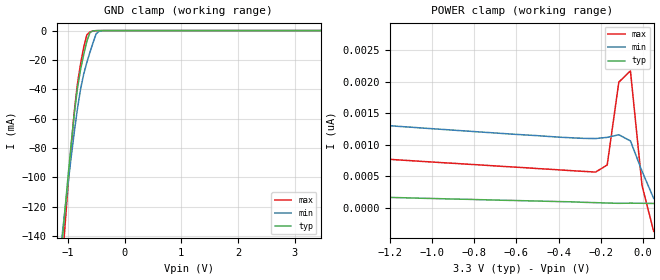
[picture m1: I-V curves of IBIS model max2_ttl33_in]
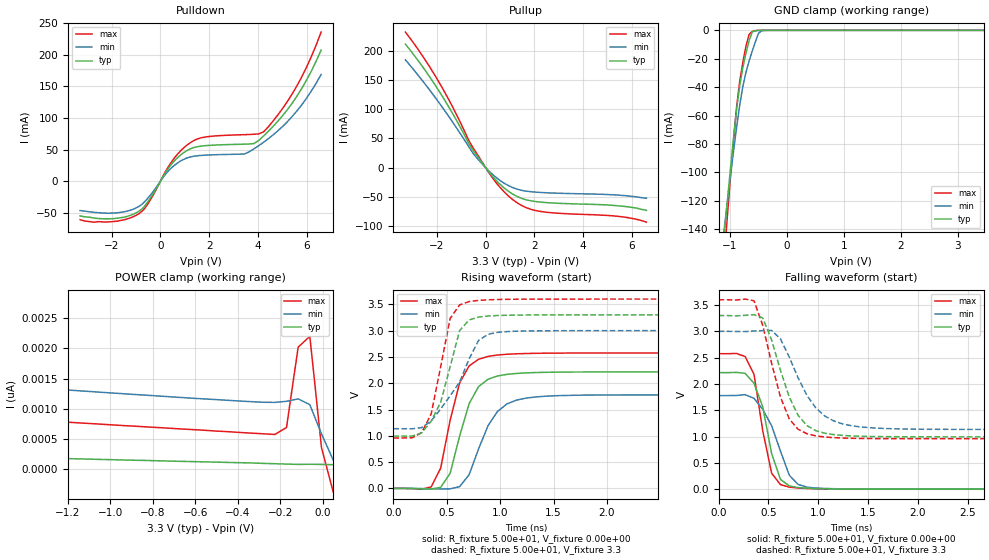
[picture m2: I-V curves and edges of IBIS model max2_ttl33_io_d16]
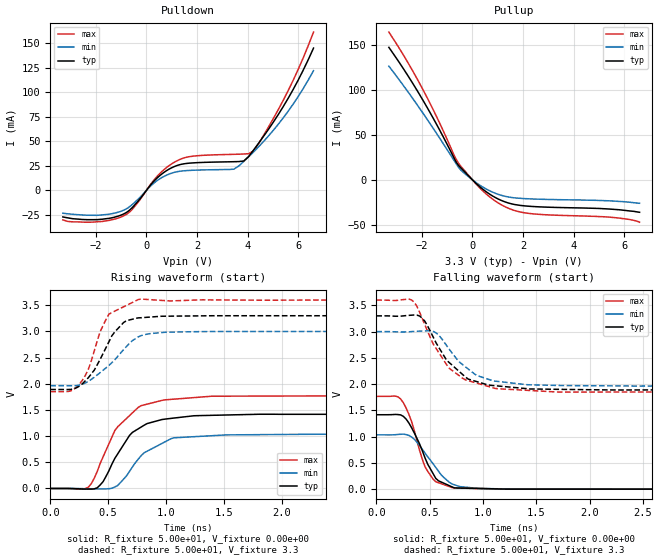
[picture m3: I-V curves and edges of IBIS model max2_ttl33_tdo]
[IBIS Ver] 3.2
[File Name] chipa.ibs
[File Rev] 2.2
[Date] October 11, 2016
[Source] Altera, Quartus Prime 16.0
[Notes]
| The models are designated as "Final" and have been
| correlated against physical device operation.
Unused IOs which have been assigned as tri-stated inputs or
as outputs driving any signal in Quartus Prime are represented by the NC.
[Disclaimer] Data is for modeling purposes only and is not guaranteed.
[Copyright] Copyright (C) 1991-2016 Altera Corporation. All rights reserved.
[Component] EPM570T144C5_ChipA
[Manufacturer]  Altera Corporation
[Package]
| RLC values are for 144 TQFP package
|variable  typ  min  max
R_pkg  428.00m   397.00m   491.00m
L_pkg  8.18nH   7.25nH   9.88nH
C_pkg  1.01pF   0.89pF   1.29pF
[Pin]  signal_name   model_name   R_pin   L_pin   C_pin
1   address[0]   max2_ttl33_in
2   address[1]   max2_ttl33_in
3   address[2]   max2_ttl33_in
4   address[3]   max2_ttl33_in
5   address[4]   max2_ttl33_in
6   address[5]   max2_ttl33_in
7   address[6]   max2_ttl33_in
8   address[7]   max2_ttl33_in
9   VCCIO1   POWER
10   GNDIO   GND
11   cs   max2_ttl33_io_d16
14   altera_reserved_lai_  max2_ttl33_io_d16
15   altera_reserved_lai_  max2_ttl33_io_d16
16   altera_reserved_lai_  max2_ttl33_io_d16
17   GNDINT   GND
18   clkin   max2_ttl33_in
19   VCCINT   POWER
21   Lsignalin[63]   max2_ttl33_in
22   Lsignalin[62]   max2_ttl33_in
23   Lsignalin[61]   max2_ttl33_in
24   Lsignalin[60]   max2_ttl33_in
25   VCCIO1   POWER
26   GNDIO   GND
27   Lsignalin[59]   max2_ttl33_in
28   Lsignalin[58]   max2_ttl33_in
29   Lsignalin[57]   max2_ttl33_in
30   Lsignalin[56]   max2_ttl33_in
31   Lsignalin[55]   max2_ttl33_in
32   Lsignalin[54]   max2_ttl33_in
33   TMS   max2_ttl33_in
34   TDI   max2_ttl33_in
35   TCK   max2_ttl33_in
36   TDO   max2_ttl33_tdo
37   Lsignalin[53]   max2_ttl33_in
38   Lsignalin[52]   max2_ttl33_in
39   Lsignalin[51]   max2_ttl33_in
40   Lsignalin[50]   max2_ttl33_in
41   Lsignalin[49]   max2_ttl33_in
42   Lsignalin[48]   max2_ttl33_in
43   Lsignalin[47]   max2_ttl33_in
44   Lsignalin[46]   max2_ttl33_in
45   Lsignalin[45]   max2_ttl33_in
46   VCCIO1   POWER
47   GNDIO   GND
48   Lsignalin[44]   max2_ttl33_in
49   Lsignalin[43]   max2_ttl33_in
50   Lsignalin[42]   max2_ttl33_in
51   Lsignalin[41]   max2_ttl33_in
52   Lsignalin[40]   max2_ttl33_in
53   Lsignalin[39]   max2_ttl33_in
54   GNDINT   GND
55   Lsignalin[38]   max2_ttl33_in
56   VCCINT   POWER
57   Lsignalin[37]   max2_ttl33_in
58   Lsignalin[36]   max2_ttl33_in
59   Lsignalin[35]   max2_ttl33_in
60   Lsignalin[34]   max2_ttl33_in
61   Lsignalin[33]   max2_ttl33_in
62   Lsignalin[32]   max2_ttl33_in
63   Lsignalin[31]   max2_ttl33_in
64   VCCIO1   POWER
65   GNDIO   GND
66   Lsignalin[30]   max2_ttl33_in
67   Lsignalin[29]   max2_ttl33_in
68   Lsignalin[28]   max2_ttl33_in
69   Lsignalin[27]   max2_ttl33_in
70   Lsignalin[26]   max2_ttl33_in
71   Lsignalin[25]   max2_ttl33_in
72   Lsignalin[24]   max2_ttl33_in
73   Lsignalin[23]   max2_ttl33_in
74   Lsignalin[22]   max2_ttl33_in
75   Lsignalin[21]   max2_ttl33_in
76   Lsignalin[20]   max2_ttl33_in
77   Lsignalin[19]   max2_ttl33_in
78   Lsignalin[18]   max2_ttl33_in
79   Lsignalin[17]   max2_ttl33_in
80   Lsignalin[16]   max2_ttl33_in
82   VCCIO2   POWER
83   GNDIO   GND
86   altera_reserved_lai_  max2_ttl33_io_d16
87   altera_reserved_lai_  max2_ttl33_io_d16
89   altera_reserved_lai_  max2_ttl33_io_d16
90   VCCINT   POWER
92   GNDINT   GND
93   altera_reserved_lai_  max2_ttl33_io_d16
95   altera_reserved_lai_  max2_ttl33_io_d16
96   enwipe_led   max2_ttl33_io_d16
97   cs_led   max2_ttl33_io_d16
98   Lsignalin[15]   max2_ttl33_in
99   GNDIO   GND
100   VCCIO2   POWER
101   Lsignalin[14]   max2_ttl33_in
102   Lsignalin[13]   max2_ttl33_in
103   Lsignalin[12]   max2_ttl33_in
104   Lsignalin[11]   max2_ttl33_in
105   Lsignalin[10]   max2_ttl33_in
106   Lsignalin[9]   max2_ttl33_in
107   Lsignalin[8]   max2_ttl33_in
108   Lsignalin[7]   max2_ttl33_in
109   Lsignalin[6]   max2_ttl33_in
110   Lsignalin[5]   max2_ttl33_in
111   Lsignalin[4]   max2_ttl33_in
112   Lsignalin[3]   max2_ttl33_in
113   Lsignalin[2]   max2_ttl33_in
114   Lsignalin[1]   max2_ttl33_in
115   GNDIO   GND
116   VCCIO2   POWER
117   Lsignalin[0]   max2_ttl33_in
122   altera_reserved_lai_  max2_ttl33_io_d16
123   altera_reserved_lai_  max2_ttl33_io_d16
124   altera_reserved_lai_  max2_ttl33_io_d16
126   VCCINT   POWER
128   GNDINT   GND
130   altera_reserved_lai_  max2_ttl33_io_d16
131   altera_reserved_lai_  max2_ttl33_io_d16
132   altera_reserved_lai_  max2_ttl33_io_d16
133   altera_reserved_lai_  max2_ttl33_io_d16
134   altera_reserved_lai_  max2_ttl33_io_d16
135   GNDIO   GND
136   VCCIO2   POWER
137   dataout[0]   max2_ttl33_io_d16
138   dataout[1]   max2_ttl33_io_d16
139   dataout[2]   max2_ttl33_io_d16
140   dataout[3]   max2_ttl33_io_d16
141   dataout[4]   max2_ttl33_io_d16
142   dataout[5]   max2_ttl33_io_d16
143   dataout[6]   max2_ttl33_io_d16
144   dataout[7]   max2_ttl33_io_d16
| Models and submodels in the file (3): max2_ttl33_in (Input), max2_ttl33_io_d16 (I/O), max2_ttl33_tdo (Output)
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[Model] max2_ttl33_in
Model_type Input
Vinl  = 0.8
Vinh  = 1.7
C_comp  3.50pF  NA  NA
[Temperature Range]  25.0000  85.0000  0.0000
[Voltage Range]   3.3   3.0   3.6
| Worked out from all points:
|   GND clamp passes 1 mA (typ) near -0.60 V on its own axis
[GND_Clamp]
| voltage   I(typ)   I(min)   I(max)
-3.3V     -1.132A    -925.1mA   -1.355A
-1.105V   -145.7mA   -140.9mA   -161.6mA
-1.05V    -121.9mA   -122mA     -132.8mA
-940mV    -76.51mA   -85.59mA   -78.19mA
-885mV    -56.08mA   -68.52mA   -54.4mA
-830mV    -39.03mA   -52.89mA   -35.93mA
-720mV    -16.26mA   -29.5mA    -11.12mA
-665mV    -7.251mA   -21.62mA   -2.896mA
-610mV    -1.232mA   -14.69mA   -844.4uA
-500mV    -38.25uA   -2.093mA   -55.85uA
-390mV    -1.427uA   -61.76uA   -2.168uA
3.455V    75.97pA    1.136nA    -210.1pA
[POWER_Clamp]
|voltage   I(typ)   I(min)   I(max)
-3.3V     3.129uA    1.976uA    8.362uA
-1.935V   39.88nA    46.98nA    37.46nA
-1.74V    2.53nA     6.616nA    2.411nA
-1.545V   218.5pA    1.536nA    887.7pA
-1.38V    183.3pA    1.353nA    815.5pA
-335mV    96.93pA    1.111nA    590.6pA
-225mV    84.49pA    1.1nA      568.8pA
-170mV    78.42pA    1.119nA    681.2pA
-115mV    73.85pA    1.16nA     1.994nA
-60mV     76.6pA     1.063nA    2.173nA
-5mV      74.64pA    581.4pA    352.9pA
50mV      71.65pA    151.8pA    -370.2pA
[Model] max2_ttl33_io_d16
Model_type I/O
Vinl  = 0.8
Vinh  = 1.7
Vmeas = 1.65V
Rref  = 1M
Cref  = 10pF
Vref  = 0.00V
C_comp  3.50pF  NA  NA
[Temperature Range]  25.0000  85.0000  0.0000
[Voltage Range]   3.3   3.0   3.6
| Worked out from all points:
|   slope of the pulldown table from 0 to 0.495 V, typ, clamps not added: 17.3 ohm
|   slope of the pullup table from 0 to 0.495 V, typ, clamps not added: 20.2 ohm
|   GND clamp passes 1 mA (typ) near -0.60 V on its own axis
|   rising waveform, R_fixture 5.00e+01, V_fixture 0.00e+00: 20-80 % time 202ps typ, 235ps min, 180ps max; typ from 0 V to 2.21 V
|   falling waveform, R_fixture 5.00e+01, V_fixture 0.00e+00: 20-80 % time 172ps typ, 222ps min, 144ps max; typ from 2.21 V to 0 V
|   rising waveform, R_fixture 5.00e+01, V_fixture 3.3: 20-80 % time 202ps typ, 309ps min, 155ps max; typ from 0.994 V to 3.3 V
|   falling waveform, R_fixture 5.00e+01, V_fixture 3.3: 20-80 % time 253ps typ, 317ps min, 228ps max; typ from 3.3 V to 0.994 V
[GND_Clamp]
| voltage   I(typ)   I(min)   I(max)
-3.3V     -1.132A    -925.1mA   -1.355A
-1.105V   -145.7mA   -140.9mA   -161.6mA
-1.05V    -121.9mA   -122mA     -132.8mA
-940mV    -76.51mA   -85.59mA   -78.19mA
-885mV    -56.08mA   -68.52mA   -54.4mA
-830mV    -39.03mA   -52.89mA   -35.93mA
-720mV    -16.26mA   -29.5mA    -11.12mA
-665mV    -7.251mA   -21.62mA   -2.896mA
-610mV    -1.232mA   -14.69mA   -844.4uA
-500mV    -38.25uA   -2.093mA   -55.85uA
-390mV    -1.427uA   -61.76uA   -2.168uA
3.455V    81.21pA    1.142nA    -217.3pA
[Pulldown]
| voltage   I(typ)   I(min)   I(max)
-3.3V     -55mA      -46.5mA    -61mA
-1.935V   -59.3mA    -50.53mA   -63.92mA
-885mV    -47.66mA   -40.03mA   -51.38mA
-500mV    -31.74mA   -26.12mA   -34.98mA
545mV     30.85mA    24.2mA     35.15mA
1.425V    53.77mA    39.78mA    65.24mA
3.455V    58.6mA     43.13mA    73.62mA
3.845V    59.61mA    51.26mA    74.26mA
4.235V    71.49mA    61.53mA    78.06mA
5.015V    103.6mA    86.49mA    114.9mA
5.6V      134.2mA    110.9mA    150.5mA
6.6V      207.5mA    168.9mA    236mA
[POWER_Clamp]
|voltage   I(typ)   I(min)   I(max)
-3.3V     3.129uA    1.976uA    8.362uA
-1.935V   39.89nA    46.99nA    37.46nA
-1.74V    2.537nA    6.626nA    2.419nA
-1.545V   225.1pA    1.545nA    894.9pA
-1.38V    189.3pA    1.36nA     822pA
-335mV    101.3pA    1.118nA    595.7pA
-225mV    88.9pA     1.106nA    573.8pA
-170mV    82.86pA    1.124nA    690.1pA
-115mV    77.67pA    1.164nA    2.022nA
-60mV     79.98pA    1.068nA    2.202nA
-5mV      77.05pA    583.7pA    355.4pA
50mV      72.77pA    151.2pA    -376.4pA
[Pullup]
| voltage   I(typ)   I(min)   I(max)
-3.3V     211.2mA    184.3mA    231.7mA
-2.52V    168.3mA    144.5mA    186.3mA
-1.935V   132.1mA    112.2mA    147.2mA
-1.38V    94.07mA    79.27mA    105.5mA
-720mV    43.61mA    37.54mA    48.91mA
-445mV    25.52mA    20.65mA    29.19mA
380mV     -19.45mA   -15.01mA   -22.91mA
1.095V    -44.58mA   -33.56mA   -53.87mA
1.645V    -54.55mA   -39.88mA   -67.78mA
2.285V    -58.83mA   -42.29mA   -74.89mA
5.405V    -64.9mA    -46.57mA   -82.88mA
6.6V      -73mA      -52mA      -93mA
[Rising Waveform]
R_fixture = 5.00e+01
V_fixture = 0.00e+00
V_fixture_min = 0.00e+00
V_fixture_max = 0.00e+00
|Time   Typ(v)   Min(v)   Max(v)
0s        0V         0V         0V
354.6ps   -12.32mV   -8.393mV   27.85mV
443.2ps   20.94mV    -8.876mV   384.4mV
531.9ps   285.4mV    -8.85mV    1.297V
620.5ps   992.9mV    33.45mV    2.005V
709.2ps   1.609V     257.4mV    2.328V
797.8ps   1.935V     748.9mV    2.455V
975.2ps   2.138V     1.463V     2.536V
1.152ns   2.186V     1.678V     2.559V
35ns      2.215V     1.779V     2.575V
[Falling Waveform]
R_fixture = 5.00e+01
V_fixture = 0.00e+00
V_fixture_min = 0.00e+00
V_fixture_max = 0.00e+00
|Time   Typ(v)   Min(v)   Max(v)
0s        2.215V     1.779V     2.575V
265.9ps   2.202V     1.796V     2.521V
354.6ps   2.014V     1.728V     2.185V
443.2ps   1.562V     1.515V     1.105V
531.9ps   676.5mV    1.205V     303.2mV
620.5ps   186.1mV    722.6mV    86.01mV
709.2ps   60.69mV    264mV      38.56mV
797.8ps   30.24mV    90.21mV    21.73mV
886.5ps   17.77mV    38.45mV    12.88mV
35ns      0V         0V         0V
[Rising Waveform]
R_fixture = 5.00e+01
V_fixture = 3.3
V_fixture_min = 3.0
V_fixture_max = 3.6
|Time   Typ(v)   Min(v)   Max(v)
0s        994.5mV    1.135V     959.1mV
265.9ps   1.056V     1.156V     1.061V
354.6ps   1.278V     1.283V     1.417V
443.2ps   1.639V     1.51V      2.314V
531.9ps   2.312V     1.76V      3.231V
620.5ps   2.999V     2.023V     3.489V
709.2ps   3.203V     2.461V     3.552V
797.8ps   3.257V     2.813V     3.575V
886.5ps   3.278V     2.93V      3.586V
35ns      3.3V       3V         3.6V
[Falling Waveform]
R_fixture = 5.00e+01
V_fixture = 3.3
V_fixture_min = 3.0
V_fixture_max = 3.6
|Time   Typ(v)   Min(v)   Max(v)
0s        3.3V       3V         3.6V
354.6ps   3.317V     3.006V     3.582V
443.2ps   3.254V     3.013V     3.111V
620.5ps   2.258V     2.856V     1.75V
709.2ps   1.75V      2.509V     1.333V
797.8ps   1.401V     2.114V     1.138V
975.2ps   1.112V     1.543V     1.013V
1.241ns   1.022V     1.241V     972mV
2.394ns   994.7mV    1.136V     959.2mV
35ns      994.5mV    1.135V     959.1mV
[Ramp]
dV/dt_r 9.418e-001/1.773e-010 7.141e-001/1.773e-010 1.031e+000/1.773e-010
dV/dt_f 1.504e+000/2.660e-010 1.313e+000/3.546e-010 1.362e+000/1.773e-010
[Model] max2_ttl33_tdo
Model_type Output
Vmeas = 1.65V
Rref  = 1M
Cref  = 10pF
Vref  = 0.00V
C_comp  3.50pF  NA  NA
[Temperature Range]  25.0000  85.0000  0.0000
[Voltage Range]   3.3   3.0   3.6
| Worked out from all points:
|   slope of the pulldown table from 0 to 0.495 V, typ, clamps not added: 34.6 ohm
|   slope of the pullup table from 0 to 0.495 V, typ, clamps not added: 40.5 ohm
|   rising waveform, R_fixture 5.00e+01, V_fixture 0.00e+00: 20-80 % time 262ps typ, 291ps min, 285ps max; typ from 0 V to 1.42 V
|   falling waveform, R_fixture 5.00e+01, V_fixture 0.00e+00: 20-80 % time 196ps typ, 235ps min, 171ps max; typ from 1.42 V to 0 V
|   rising waveform, R_fixture 5.00e+01, V_fixture 3.3: 20-80 % time 220ps typ, 287ps min, 175ps max; typ from 1.89 V to 3.3 V
|   falling waveform, R_fixture 5.00e+01, V_fixture 3.3: 20-80 % time 312ps typ, 298ps min, 320ps max; typ from 3.3 V to 1.89 V
[Pulldown]
| voltage   I(typ)   I(min)   I(max)
-3.3V     -27mA      -23.2mA    -30mA
-2.13V    -29.8mA    -25.3mA    -32.3mA
-1.105V   -26.11mA   -22.04mA   -28.06mA
-610mV    -18.78mA   -15.48mA   -20.64mA
435mV     12.92mA    10.2mA     14.63mA
1.205V    25.35mA    19.05mA    30.15mA
1.895V    28.18mA    20.65mA    35.1mA
3.455V    29.3mA     21.69mA    36.82mA
3.845V    30mA       29.56mA    37.14mA
4.235V    41.27mA    39.29mA    40.31mA
5.6V      93.96mA    80.8mA     101.8mA
6.6V      145.1mA    122.1mA    161.4mA
[Pullup]
| voltage   I(typ)   I(min)   I(max)
-3.3V     147mA      126.1mA    163.9mA
-2.52V    114.3mA    96.65mA    128.7mA
-1.935V   87.39mA    73.19mA    99.06mA
-1.38V    59.68mA    49.91mA    67.99mA
-610mV    18.34mA    16.44mA    21.16mA
-445mV    12.78mA    10.42mA    14.63mA
50mV      -1.407mA   -1.094mA   -1.642mA
765mV     -17.39mA   -13.27mA   -20.73mA
1.425V    -25.74mA   -19.05mA   -31.6mA
2.09V     -28.98mA   -20.88mA   -36.74mA
5.405V    -32.4mA    -23.3mA    -41.38mA
6.6V      -36mA      -26mA      -47mA
[Rising Waveform]
R_fixture = 5.00e+01
V_fixture = 0.00e+00
V_fixture_min = 0.00e+00
V_fixture_max = 0.00e+00
|Time   Typ(v)   Min(v)   Max(v)
0s        0V         0V         0V
329.6ps   -12.18mV   -7.193mV   25.34mV
456.3ps   129.7mV    -9.635mV   604.8mV
583ps     662.2mV    57.36mV    1.18V
709.8ps   1.072V     410.4mV    1.445V
811.2ps   1.209V     682.3mV    1.597V
963.3ps   1.316V     858.5mV    1.682V
1.065ns   1.345V     967.4mV    1.706V
1.521ns   1.404V     1.023V     1.763V
4ns       1.417V     1.034V     1.767V
[Falling Waveform]
R_fixture = 5.00e+01
V_fixture = 0.00e+00
V_fixture_min = 0.00e+00
V_fixture_max = 0.00e+00
|Time   Typ(v)   Min(v)   Max(v)
0s        1.417V     1.034V     1.767V
177.4ps   1.423V     1.036V     1.772V
228.2ps   1.414V     1.045V     1.716V
278.9ps   1.335V     1.039V     1.547V
329.6ps   1.175V     994.1mV    1.294V
456.3ps   596.4mV    686.7mV    426.9mV
557.7ps   204.2mV    412.6mV    140.3mV
709.8ps   43.02mV    98.49mV    30.46mV
1.115ns   5.397mV    7.514mV    4.529mV
4ns       -221.5uV   3.073uV    -116.2uV
[Rising Waveform]
R_fixture = 5.00e+01
V_fixture = 3.3
V_fixture_min = 3.0
V_fixture_max = 3.6
|Time   Typ(v)   Min(v)   Max(v)
0s        1.891V     1.964V     1.85V
152.1ps   1.89V      1.963V     1.853V
228.2ps   1.926V     1.967V     1.938V
329.6ps   2.118V     2.046V     2.279V
430.9ps   2.468V     2.214V     2.994V
507ps     2.804V     2.352V     3.331V
633.8ps   3.171V     2.654V     3.471V
760.5ps   3.259V     2.896V     3.61V
1.293ns   3.298V     2.997V     3.603V
4ns       3.3V       3V         3.6V
[Falling Waveform]
R_fixture = 5.00e+01
V_fixture = 3.3
V_fixture_min = 3.0
V_fixture_max = 3.6
|Time   Typ(v)   Min(v)   Max(v)
0s        3.3V       3V         3.6V
329.6ps   3.313V     3V         3.602V
380.3ps   3.315V     3.007V     3.484V
456.3ps   3.194V     3.014V     3.122V
557.7ps   2.796V     2.978V     2.688V
684.5ps   2.409V     2.662V     2.3V
938ps     2.05V      2.169V     2.021V
1.115ns   1.969V     2.056V     1.917V
1.749ns   1.9V       1.973V     1.848V
4ns       1.891V     1.964V     1.85V
[Ramp]
dV/dt_r 8.005e-001/2.535e-010 5.875e-001/2.789e-010 9.687e-001/2.788e-010
dV/dt_f 9.219e-001/3.295e-010 6.003e-001/2.789e-010 1.147e+000/3.296e-010
